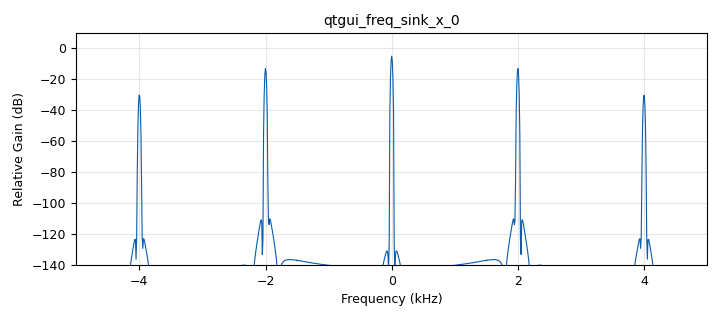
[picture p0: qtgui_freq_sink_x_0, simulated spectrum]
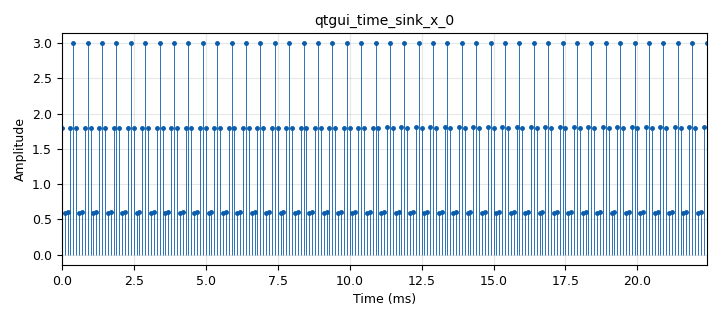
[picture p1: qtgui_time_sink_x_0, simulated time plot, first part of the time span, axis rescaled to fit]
options:
  parameters:
    author: Julian_Sanabria_E1C _G5
    generate_options: qt_gui
    id: lab_comu_1
    output_language: python
    title: punto_cinco
  states: {}

blocks:
- name: freq
  id: variable_qtgui_range
  parameters:
    label: frecuency
    start: '1000'
    step: '1000'
    stop: '40000'
    value: '2000'
  states: {}
- name: samp_rate
  id: variable_qtgui_range
  parameters:
    label: frecuencia de muestreo
    start: '1000'
    step: '1000'
    stop: '80000'
    value: '10000'
  states: {}
- name: analog_sig_source_x_0
  id: analog_sig_source_x
  parameters:
    amp: '3'
    freq: freq
    offset: '0'
    phase: '0'
    samp_rate: samp_rate
    type: float
    waveform: analog.GR_TRI_WAVE
  states: {}
- name: blocks_throttle2_0
  id: blocks_throttle2
  parameters:
    samples_per_second: samp_rate
    type: float
  states: {}
- name: qtgui_freq_sink_x_0
  id: qtgui_freq_sink_x
  parameters:
    bw: samp_rate
    fc: '0'
    fftsize: '1024'
    type: float
  states: {}
- name: qtgui_time_sink_x_0
  id: qtgui_time_sink_x
  parameters:
    size: '1024'
    srate: samp_rate
    stemplot: 'True'
    type: float
  states: {}

connections:
- [analog_sig_source_x_0, '0', blocks_throttle2_0, '0']
- [blocks_throttle2_0, '0', qtgui_freq_sink_x_0, '0']
- [blocks_throttle2_0, '0', qtgui_time_sink_x_0, '0']

metadata:
  file_format: 1
  grc_version: 3.10.10.0
